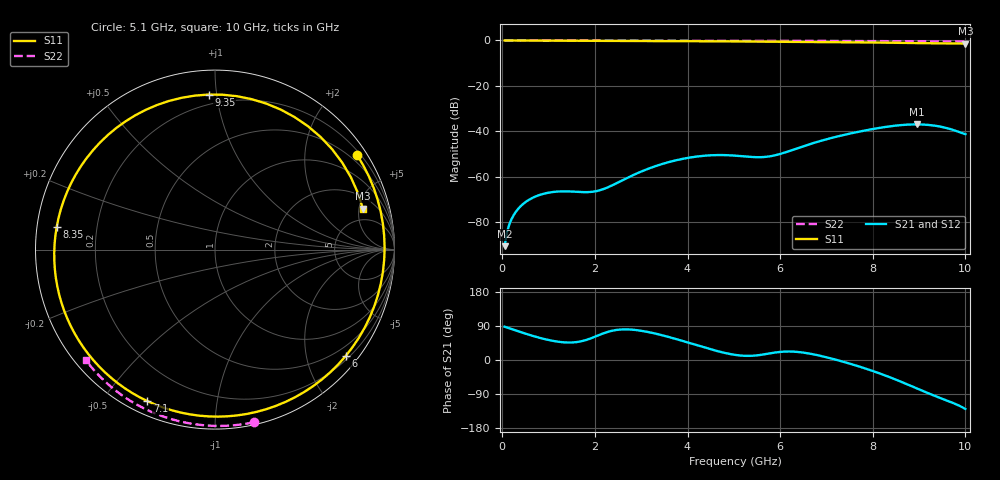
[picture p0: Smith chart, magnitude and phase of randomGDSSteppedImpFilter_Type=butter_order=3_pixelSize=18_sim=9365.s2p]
! freq	dB(S11)	phase(S11)	dB(S12)	phase(S12)
!  dB(S21)	phase(S21)	dB(S22)	phase(S22)
!S-par simulation data
#  GHz  S  DB  R 50
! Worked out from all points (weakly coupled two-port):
!   200 points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, 50 MHz to 10 GHz, reference 50 ohm
!   highest |S21| = -36.99 dB at 8.95 GHz (marker M1); lowest = -90.6 dB at 50 MHz (marker M2)
!   lowest |S11| = -1.4 dB at 10 GHz (marker M3), VSWR 12.79, Z = 163 + j275 ohm
!   |S11| at or under -10 dB: nowhere
!   |S22| runs from -0.5 to 0.0 dB; largest |S21 - S12| = 0
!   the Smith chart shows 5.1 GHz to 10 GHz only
!   S11 on the Smith chart (normalised r, x): 5.1 GHz: 0.30, +3.29; 6 GHz: 0.28, -2.78; 7.1 GHz: 0.06, -0.65; 8.35 GHz: 0.06, +0.07; 9.35 GHz: 0.14, +0.95; 10 GHz: 3.25, +5.50
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0.05  -0.00 -3.4  -90.63 87.8  -90.63 87.8  -0.00 -0.8
0.15  -0.01 -10.3  -81.15 83.7  -81.15 83.7  -0.00 -2.4
0.5  -0.05 -34.1  -71.24 69.5  -71.24 69.5  -0.01 -8.1
0.95  -0.08 -63.5  -67.26 54.1  -67.26 54.1  -0.02 -15.3
1.75  -0.13 -111.9  -66.82 50.7  -66.82 50.7  -0.04 -27.9
2.6  -0.17 -159.5  -61.53 80.7  -61.53 80.7  -0.05 -41.0
3.4  -0.23 155.0  -54.76 66.9  -54.76 66.9  -0.07 -53.0
3.85  -0.27 127.0  -52.35 51.8  -52.35 51.8  -0.08 -59.6
4.3  -0.32 96.1  -50.91 35.4  -50.91 35.4  -0.09 -66.1
4.65  -0.37 69.8  -50.50 23.3  -50.50 23.3  -0.10 -71.1
5.05  -0.43 37.7  -50.78 13.1  -50.78 13.1  -0.12 -76.6
5.1  -0.44 33.6  -50.86 12.3  -50.86 12.3  -0.12 -77.3
5.55  -0.50 -3.5  -51.44 12.9  -51.44 12.9  -0.14 -83.4
6  -0.55 -39.2  -50.01 21.3  -50.01 21.3  -0.16 -89.5
6.7  -0.62 -88.9  -45.31 15.4  -45.31 15.4  -0.19 -98.6
7.1  -0.68 -114.0  -43.00 4.1  -43.00 4.1  -0.21 -103.7
7.75  -0.82 -152.2  -39.99 -18.9  -39.99 -18.9  -0.26 -111.9
8.35  -1.00 171.9  -37.89 -44.7  -37.89 -44.7  -0.31 -119.4
8.95  -1.18 129.0  -36.99 -74.9  -36.99 -74.9  -0.36 -126.7
9.35  -1.26 92.4  -37.59 -95.2  -37.59 -95.2  -0.40 -131.6
9.65  -1.30 59.0  -38.90 -109.4  -38.90 -109.4  -0.43 -135.2
10  -1.36 15.4  -41.32 -129.2  -41.32 -129.2  -0.47 -139.4
